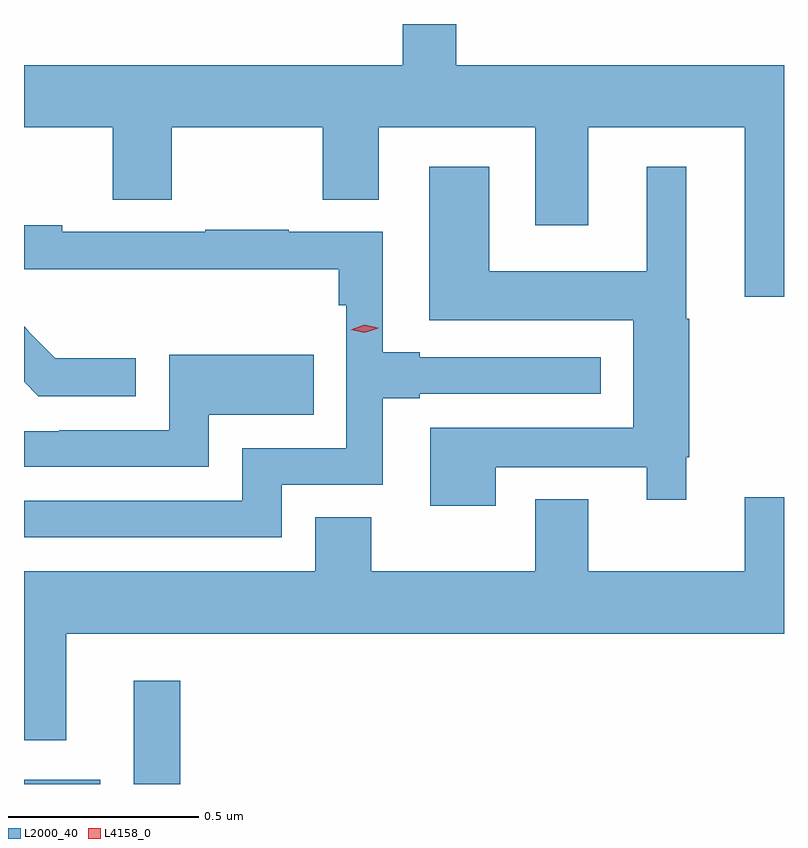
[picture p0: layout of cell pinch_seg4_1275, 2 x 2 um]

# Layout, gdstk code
import gdstk
lib = gdstk.Library(unit=1e-6, precision=1e-09)
def R(c, l, rs):  # rectangles x0, y0, x1, y1
    for r in rs: c.add(gdstk.rectangle(r[:2], r[2:], *l))
def P(c, l, *ps):  # polygons
    for p in ps: c.add(gdstk.Polygon(p, *l))
L2000_40 = (2000, 40)
L4158_0 = (4158, 0)

pinch_seg4_1275 = lib.new_cell('pinch_seg4_1275')
R(pinch_seg4_1275, L2000_40, [(190.03,819.068,190.231,819.079), (190.319,819.068,190.441,819.34)])
P(pinch_seg4_1275, L2000_40, [(192.03,820.96),(191.167,820.96),(191.167,821.068),(191.027,821.068),(191.027,820.96),(190.03,820.96),(190.03,820.796),(190.264,820.796),(190.264,820.606),(190.419,820.606),(190.419,820.796),(190.816,820.796),(190.816,820.606),(190.963,820.606),(190.963,820.796),(191.375,820.796),(191.375,820.539),(191.515,820.539),(191.515,820.796),(191.927,820.796),(191.927,820.35),(192.03,820.35)],
  [(191.272,819.902),(191.669,819.902),(191.669,819.816),(191.773,819.816),(191.773,819.928),(191.781,819.928),(191.781,820.293),(191.773,820.293),(191.773,820.693),(191.669,820.693),(191.669,820.417),(191.254,820.417),(191.254,820.693),(191.096,820.693),(191.096,820.289),(191.633,820.289),(191.633,820.006),(191.099,820.006),(191.099,819.8),(191.272,819.8)],
  [(190.708,819.855),(190.974,819.855),(190.974,820.083),(191.071,820.083),(191.071,820.095),(191.548,820.095),(191.548,820.191),(191.071,820.191),(191.071,820.204),(190.974,820.204),(190.974,820.521),(190.727,820.521),(190.727,820.526),(190.507,820.526),(190.507,820.521),(190.131,820.521),(190.131,820.539),(190.03,820.539),(190.03,820.423),(190.858,820.423),(190.858,820.328),(190.878,820.328),(190.878,819.951),(190.604,819.951),(190.604,819.813),(190.03,819.813),(190.03,819.717),(190.708,819.717)],
  [(190.324,820.188),(190.112,820.188),(190.041,820.259),(190.042,820.26),(190.03,820.272),(190.03,820.126),(190.067,820.089),(190.324,820.089)],
  [(190.516,820.04),(190.793,820.04),(190.793,820.198),(190.412,820.198),(190.412,819.999),(190.123,819.999),(190.123,819.996),(190.03,819.996),(190.03,819.903),(190.516,819.903)],
  [(190.141,819.464),(192.03,819.464),(192.03,819.823),(191.927,819.823),(191.927,819.628),(191.515,819.628),(191.515,819.817),(191.375,819.817),(191.375,819.628),(190.944,819.628),(190.944,819.77),(190.796,819.77),(190.796,819.628),(190.03,819.628),(190.03,819.183),(190.141,819.183)])
P(pinch_seg4_1275, L4158_0, [(190.927,820.256),(190.89,820.263),(190.89,820.263),(190.89,820.264),(190.925,820.276),(190.962,820.269),(190.962,820.269),(190.962,820.268)])

lib.write_gds('pinch_seg4_1275.gds')
